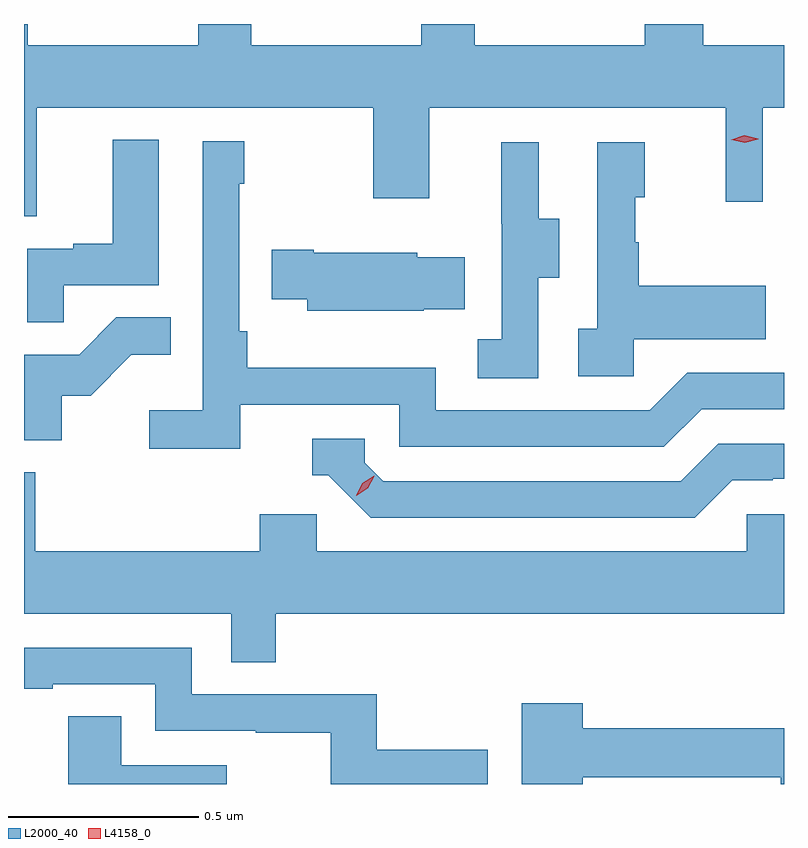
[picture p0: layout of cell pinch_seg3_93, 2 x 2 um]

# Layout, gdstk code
import gdstk
lib = gdstk.Library(unit=1e-6, precision=1e-09)
def P(c, l, *ps):  # polygons
    for p in ps: c.add(gdstk.Polygon(p, *l))
L2000_40 = (2000, 40)
L4158_0 = (4158, 0)

pinch_seg3_93 = lib.new_cell('pinch_seg3_93')
P(pinch_seg3_93, L2000_40, [(1044.949,726.224),(1045.834,726.224),(1045.834,725.985),(1045.981,725.985),(1045.981,726.224),(1046.762,726.224),(1046.762,725.976),(1046.859,725.976),(1046.859,726.224),(1046.915,726.224),(1046.915,726.388),(1046.702,726.388),(1046.702,726.444),(1046.549,726.444),(1046.549,726.388),(1046.101,726.388),(1046.101,726.444),(1045.961,726.444),(1045.961,726.388),(1045.513,726.388),(1045.513,726.444),(1045.373,726.444),(1045.373,726.388),(1044.925,726.388),(1044.925,726.444),(1044.915,726.444),(1044.915,725.938),(1044.949,725.938)],
  [(1045.019,725.757),(1045.27,725.757),(1045.27,726.139),(1045.148,726.139),(1045.148,725.866),(1045.045,725.866),(1045.045,725.853),(1044.924,725.853),(1044.924,725.659),(1045.019,725.659)],
  [(1045.484,725.442),(1045.902,725.442),(1045.902,725.331),(1046.599,725.331),(1046.698,725.43),(1046.915,725.43),(1046.915,725.526),(1046.661,725.526),(1046.562,725.427),(1045.998,725.427),(1045.998,725.539),(1045.502,725.539),(1045.502,725.635),(1045.482,725.635),(1045.482,726.023),(1045.495,726.023),(1045.495,726.136),(1045.386,726.136),(1045.386,725.428),(1045.245,725.428),(1045.245,725.326),(1045.484,725.326)],
  [(1046.52,725.615),(1046.867,725.615),(1046.867,725.755),(1046.533,725.755),(1046.533,725.87),(1046.523,725.87),(1046.523,725.988),(1046.548,725.988),(1046.548,726.133),(1046.424,726.133),(1046.424,725.642),(1046.373,725.642),(1046.373,725.517),(1046.52,725.517)],
  [(1046.268,725.776),(1046.323,725.776),(1046.323,725.931),(1046.269,725.931),(1046.269,726.133),(1046.171,726.133),(1046.171,725.919),(1046.172,725.919),(1046.172,725.615),(1046.109,725.615),(1046.109,725.512),(1046.268,725.512)],
  [(1045.967,725.693),(1046.075,725.693),(1046.075,725.83),(1045.95,725.83),(1045.95,725.842),(1045.678,725.842),(1045.678,725.85),(1045.567,725.85),(1045.567,725.72),(1045.661,725.72),(1045.661,725.69),(1045.967,725.69)],
  [(1045.014,725.466),(1045.09,725.466),(1045.197,725.573),(1045.301,725.573),(1045.301,725.672),(1045.158,725.672),(1045.06,725.574),(1044.915,725.574),(1044.915,725.349),(1045.014,725.349)],
  [(1046.779,725.244),(1046.886,725.244),(1046.886,725.247),(1046.915,725.247),(1046.915,725.34),(1046.742,725.34),(1046.643,725.241),(1045.86,725.241),(1045.812,725.289),(1045.812,725.352),(1045.673,725.352),(1045.673,725.256),(1045.716,725.256),(1045.827,725.145),(1046.68,725.145)],
  [(1045.577,724.892),(1046.915,724.892),(1046.915,725.154),(1046.817,725.154),(1046.817,725.056),(1045.686,725.056),(1045.686,725.154),(1045.535,725.154),(1045.535,725.056),(1044.944,725.056),(1044.944,725.264),(1044.915,725.264),(1044.915,724.892),(1045.461,724.892),(1045.461,724.765),(1045.577,724.765)],
  [(1046.136,724.534),(1045.843,724.534),(1045.843,724.68),(1045.356,724.68),(1045.356,724.803),(1044.915,724.803),(1044.915,724.695),(1044.991,724.695),(1044.991,724.707),(1045.26,724.707),(1045.26,724.584),(1045.525,724.584),(1045.525,724.579),(1045.722,724.579),(1045.722,724.444),(1046.136,724.444)],
  [(1046.386,724.462),(1046.906,724.462),(1046.906,724.444),(1046.915,724.444),(1046.915,724.591),(1046.386,724.591),(1046.386,724.657),(1046.225,724.657),(1046.225,724.444),(1046.386,724.444)],
  [(1045.448,724.494),(1045.171,724.494),(1045.171,724.622),(1045.031,724.622),(1045.031,724.444),(1045.448,724.444)])
P(pinch_seg3_93, L4158_0, [(1046.812,726.131),(1046.776,726.14),(1046.775,726.14),(1046.776,726.14),(1046.811,726.151),(1046.847,726.142),(1046.847,726.141),(1046.847,726.141)],
  [(1045.789,725.203),(1045.789,725.203),(1045.805,725.236),(1045.837,725.255),(1045.837,725.255),(1045.837,725.254),(1045.82,725.222),(1045.789,725.203)])

lib.write_gds('pinch_seg3_93.gds')
